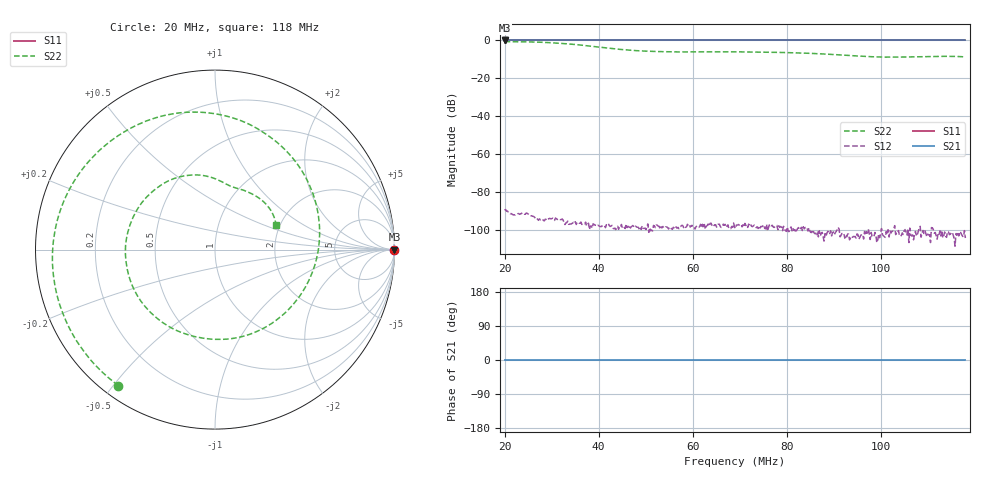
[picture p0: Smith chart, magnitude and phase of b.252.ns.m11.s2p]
! Anritsu VNA Master:  Model: MS2036C/10/77
! SN:  1601066
! /bd0/18may10/252.ns.m11.s2p
! Existing Calibration Information:
! TYPE:  Current Settings,  Active Cal Settings
! TIME:  05/10/2018 06:01:50 PM,  05/10/2018 05:49:06 PM
! INTERNAL TEMP:  59.8 C,  59.5 C
! # POINTS:  490,  490
! START FREQ:  20.000 MHz,  20.000 MHz
! STOP FREQ:  117.995 991 MHz,  117.995 991 MHz
! SOURCE POWER:  High,  High
! IFBW:  50 Hz,  50 Hz
! AVG FACTOR:  1 ,  1
! REF PLANE 1:  0 mm,  0 mm
! REF PLANE 2:  0 mm,  0 mm
! CAL TYPE:  Full S22,  Full S22
! CAL METHOD:  SOLT,  SOLT
! CAL LINE TYPE:  Coax,  Coax
! DUT PORT 1:  K-Conn(M),  K-Conn(M)
! DUT PORT 2:  K-Conn(M),  K-Conn(M)
! CAL STATUS:  OK: Accuracy High,  --
# GHZ S DB R 50.0
! FREQ.GHZ  S11DB  S11A  S21DB  S21A  S12DB  S12A  S22DB  S22A
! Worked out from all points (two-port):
!   490 points, 20 MHz to 118 MHz, reference 50 ohm
!   highest |S21| = 0.00 dB at 20 MHz (marker M1); lowest = 0.0 dB at 20 MHz (marker M2)
!   |S21| within 3 dB of the highest: start of sweep to end of sweep
!   lowest |S11| = 0.0 dB at 20 MHz (marker M3)
!   |S11| at or under -10 dB: nowhere
!   |S22| runs from -8.8 to -0.6 dB; largest |S21 - S12| = 1
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0.02  0.00 0.0  0.00 0.0  -89.71 32.9  -0.63 -125.4
0.02440882  0.00 0.0  0.00 0.0  -91.84 36.1  -0.74 -159.3
0.02801603  0.00 0.0  0.00 0.0  -94.31 28.2  -0.97 169.7
0.03022044  0.00 0.0  0.00 0.0  -93.89 29.2  -1.26 149.3
0.03262525  0.00 0.0  0.00 0.0  -96.07 15.9  -1.66 126.3
0.03462926  0.00 0.0  0.00 0.0  -96.17 27.0  -2.04 106.1
0.03643287  0.00 0.0  0.00 0.0  -97.25 24.2  -2.49 87.3
0.04004008  0.00 0.0  0.00 0.0  -97.91 38.8  -3.50 49.4
0.04344689  0.00 0.0  0.00 0.0  -99.14 23.2  -4.45 14.3
0.0456513  0.00 0.0  0.00 0.0  -99.38 41.9  -4.96 -7.3
0.04825651  0.00 0.0  0.00 0.0  -98.72 23.6  -5.42 -31.2
0.05266533  0.00 0.0  0.00 0.0  -98.12 23.8  -5.85 -68.5
0.05587174  0.00 0.0  0.00 0.0  -98.76 39.1  -6.03 -92.3
0.05967936  0.00 0.0  0.00 0.0  -97.90 25.6  -6.04 -117.4
0.06448898  0.00 0.0  0.00 0.0  -97.89 22.3  -5.97 -146.3
0.0690982  0.00 0.0  0.00 0.0  -99.44 14.9  -6.01 -170.9
0.07771543  0.00 0.0  0.00 0.0  -97.68 -2.6  -6.28 148.9
0.08553106  0.00 0.0  0.00 0.0  -100.06 0.7  -6.87 117.7
0.09354709  0.00 0.0  0.00 0.0  -104.48 -2.0  -7.97 91.6
0.1017635  0.00 0.0  0.00 0.0  -103.86 13.5  -8.83 73.5
0.1115832  0.00 0.0  0.00 0.0  -101.48 4.4  -8.45 49.0
0.117996  0.00 0.0  0.00 0.0  -104.40 -3.0  -8.71 22.2
